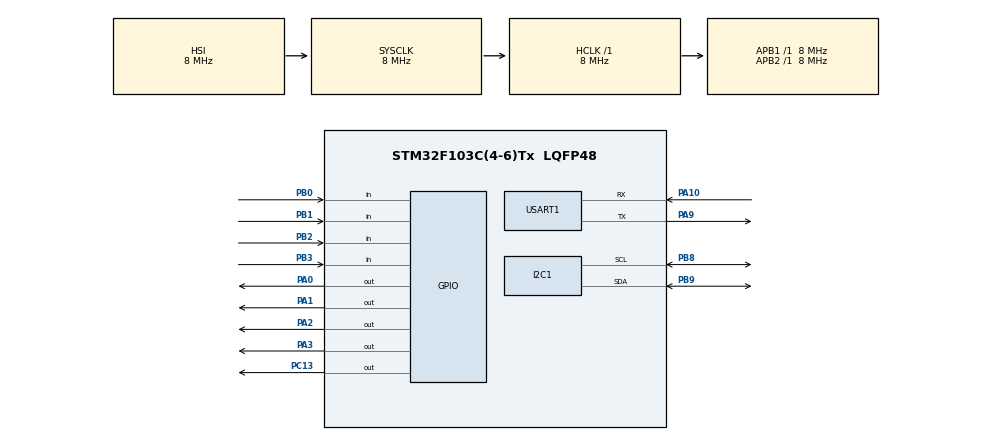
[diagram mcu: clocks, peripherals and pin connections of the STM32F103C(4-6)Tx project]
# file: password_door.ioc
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Mcu.Family=STM32F1
Mcu.Name=STM32F103C(4-6)Tx
Mcu.Package=LQFP48
NVIC.PriorityGroup=NVIC_PRIORITYGROUP_4
PA0-WKUP.PinState=GPIO_PIN_RESET
PA0-WKUP.Signal=GPIO_Output
PA1.PinState=GPIO_PIN_RESET
PA1.Signal=GPIO_Output
PA10.Mode=Asynchronous
PA10.Signal=USART1_RX
PA13.Mode=Serial_Wire
PA13.Signal=SYS_JTMS-SWDIO
PA14.Mode=Serial_Wire
PA14.Signal=SYS_JTCK-SWCLK
PA2.PinState=GPIO_PIN_RESET
PA2.Signal=GPIO_Output
PA3.PinState=GPIO_PIN_RESET
PA3.Signal=GPIO_Output
PA9.Mode=Asynchronous
PA9.Signal=USART1_TX
PB0.GPIO_PuPd=GPIO_PULLUP
PB0.Signal=GPIO_Input
PB1.GPIO_PuPd=GPIO_PULLUP
PB1.Signal=GPIO_Input
PB2.GPIO_PuPd=GPIO_PULLUP
PB2.Signal=GPIO_Input
PB3.GPIO_PuPd=GPIO_PULLUP
PB3.Signal=GPIO_Input
PB8.Mode=I2C
PB8.Signal=I2C1_SCL
PB9.Mode=I2C
PB9.Signal=I2C1_SDA
PC13-TAMPER-RTC.Signal=GPIO_Output
ProjectManager.HeapSize=0x200
ProjectManager.StackSize=0x400
ProjectManager.TargetToolchain=MDK-ARM V5.32
RCC.AHBFreq_Value=8000000
RCC.APB1Freq_Value=8000000
RCC.APB1TimFreq_Value=8000000
RCC.APB2Freq_Value=8000000
RCC.APB2TimFreq_Value=8000000
RCC.HCLKFreq_Value=8000000
RCC.PLLMUL=RCC_PLL_MUL9
RCC.SYSCLKFreq_VALUE=8000000
RCC.USBFreq_Value=36000000
USART1.VirtualMode=VM_ASYNC
board=custom

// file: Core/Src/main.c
/* USER CODE BEGIN Header */
/**
  ******************************************************************************
  * @file           : main.c
  * @brief          : Main program body
  ******************************************************************************
  * @attention
  *
  * Copyright (c) 2023 STMicroelectronics.
  * All rights reserved.
  *
  * This software is licensed under terms that can be found in the LICENSE file
  * in the root directory of this software component.
  * If no LICENSE file comes with this software, it is provided AS-IS.
  *
  ******************************************************************************
  */
/* USER CODE END Header */
#include "main.h"

/* USER CODE BEGIN Includes */
#include "i2c-lcd.h"
#include "string.h"
#include "stdio.h"
#include "keypad.h"
/* USER CODE END Includes */

/* USER CODE BEGIN PD */
// Cac mode chuong trinh
#define MODE_RUN 0
#define MODE_CHANGE 1
#define MODE_INPUT_PASS 3
// Trang thai cua
#define OK 0
#define NOT_OK 1
/* USER CODE END PD */

I2C_HandleTypeDef hi2c1;

UART_HandleTypeDef huart1;

void SystemClock_Config(void);
static void MX_GPIO_Init(void);
static void MX_I2C1_Init(void);
static void MX_USART1_UART_Init(void);
/* USER CODE BEGIN PFP */
void run_Normal(void);
char run_CheckPass(void);
void run_ChangePass(void);
void run_InputPass(void);
void get_key(void);
void loop_main(void);
/* USER CODE END PFP */

/* USER CODE BEGIN 0 */
// Password mac dinh
char password[] = {'1','1','1','1'};

uint8_t key;
char i,j,tmp;
char count_key = 0;
char count_key_in = 0;
char count_enter_pass = 0;
char key_pass[5];
char buffer_pass[5];
char new_pass1[5];
char new_pass2[5];
unsigned char data[]="		Welcome!		";
unsigned char buffer[100];
unsigned char clear[1] = {12};
unsigned char clear_[1] = {8};
char mode_pass = MODE_RUN;
char status_pass = 2;
char check_pass = 2;
/* USER CODE END 0 */

int main(void)
{

  /* MCU Configuration--------------------------------------------------------*/

  /* Reset of all peripherals, Initializes the Flash interface and the Systick. */
  HAL_Init();

  /* Configure the system clock */
  SystemClock_Config();

  /* Initialize all configured peripherals */
  MX_GPIO_Init();
  MX_I2C1_Init();
  MX_USART1_UART_Init();
  /* USER CODE BEGIN 2 */
	lcd_init ();
	lcd_clear();
	lcd_send_cmd(0x80);
	lcd_send_string ("WELCOME!");
	//HAL_UART_Transmit(&huart1,data,strlen(data),100);
  /* USER CODE END 2 */

  /* Infinite loop */
  while (1)
  {

    /* USER CODE BEGIN 3 */
		loop_main();
		HAL_GPIO_TogglePin(GPIOC,GPIO_PIN_13);
		HAL_Delay(1000);
  }
  /* USER CODE END 3 */
}

void SystemClock_Config(void)
{
  RCC_OscInitTypeDef RCC_OscInitStruct = {0};
  RCC_ClkInitTypeDef RCC_ClkInitStruct = {0};

  /** Initializes the RCC Oscillators according to the specified parameters
  * in the RCC_OscInitTypeDef structure.
  */
  RCC_OscInitStruct.OscillatorType = RCC_OSCILLATORTYPE_HSI;
  RCC_OscInitStruct.HSIState = RCC_HSI_ON;
  RCC_OscInitStruct.HSICalibrationValue = RCC_HSICALIBRATION_DEFAULT;
  RCC_OscInitStruct.PLL.PLLState = RCC_PLL_NONE;
  if (HAL_RCC_OscConfig(&RCC_OscInitStruct) != HAL_OK)
  {
    Error_Handler();
  }

  /** Initializes the CPU, AHB and APB buses clocks
  */
  RCC_ClkInitStruct.ClockType = RCC_CLOCKTYPE_HCLK|RCC_CLOCKTYPE_SYSCLK
                              |RCC_CLOCKTYPE_PCLK1|RCC_CLOCKTYPE_PCLK2;
  RCC_ClkInitStruct.SYSCLKSource = RCC_SYSCLKSOURCE_HSI;
  RCC_ClkInitStruct.AHBCLKDivider = RCC_SYSCLK_DIV1;
  RCC_ClkInitStruct.APB1CLKDivider = RCC_HCLK_DIV1;
  RCC_ClkInitStruct.APB2CLKDivider = RCC_HCLK_DIV1;

  if (HAL_RCC_ClockConfig(&RCC_ClkInitStruct, FLASH_LATENCY_0) != HAL_OK)
  {
    Error_Handler();
  }
}

static void MX_I2C1_Init(void)
{

  hi2c1.Instance = I2C1;
  hi2c1.Init.ClockSpeed = 100000;
  hi2c1.Init.DutyCycle = I2C_DUTYCYCLE_2;
  hi2c1.Init.OwnAddress1 = 0;
  hi2c1.Init.AddressingMode = I2C_ADDRESSINGMODE_7BIT;
  hi2c1.Init.DualAddressMode = I2C_DUALADDRESS_DISABLE;
  hi2c1.Init.OwnAddress2 = 0;
  hi2c1.Init.GeneralCallMode = I2C_GENERALCALL_DISABLE;
  hi2c1.Init.NoStretchMode = I2C_NOSTRETCH_DISABLE;
  if (HAL_I2C_Init(&hi2c1) != HAL_OK)
  {
    Error_Handler();
  }

}

static void MX_USART1_UART_Init(void)
{

  huart1.Instance = USART1;
  huart1.Init.BaudRate = 115200;
  huart1.Init.WordLength = UART_WORDLENGTH_8B;
  huart1.Init.StopBits = UART_STOPBITS_1;
  huart1.Init.Parity = UART_PARITY_NONE;
  huart1.Init.Mode = UART_MODE_TX_RX;
  huart1.Init.HwFlowCtl = UART_HWCONTROL_NONE;
  huart1.Init.OverSampling = UART_OVERSAMPLING_16;
  if (HAL_UART_Init(&huart1) != HAL_OK)
  {
    Error_Handler();
  }

}

static void MX_GPIO_Init(void)
{
  GPIO_InitTypeDef GPIO_InitStruct = {0};

  /* GPIO Ports Clock Enable */
  __HAL_RCC_GPIOC_CLK_ENABLE();
  __HAL_RCC_GPIOA_CLK_ENABLE();
  __HAL_RCC_GPIOB_CLK_ENABLE();

  /*Configure GPIO pin Output Level */
  HAL_GPIO_WritePin(GPIOC, GPIO_PIN_13, GPIO_PIN_RESET);

  /*Configure GPIO pin Output Level */
  HAL_GPIO_WritePin(GPIOA, GPIO_PIN_0|GPIO_PIN_1|GPIO_PIN_2|GPIO_PIN_3, GPIO_PIN_RESET);

  /*Configure GPIO pin : PC13 */
  GPIO_InitStruct.Pin = GPIO_PIN_13;
  GPIO_InitStruct.Mode = GPIO_MODE_OUTPUT_PP;
  GPIO_InitStruct.Pull = GPIO_NOPULL;
  GPIO_InitStruct.Speed = GPIO_SPEED_FREQ_LOW;
  HAL_GPIO_Init(GPIOC, &GPIO_InitStruct);

  /*Configure GPIO pins : PA0 PA1 PA2 PA3 */
  GPIO_InitStruct.Pin = GPIO_PIN_0|GPIO_PIN_1|GPIO_PIN_2|GPIO_PIN_3;
  GPIO_InitStruct.Mode = GPIO_MODE_OUTPUT_PP;
  GPIO_InitStruct.Pull = GPIO_NOPULL;
  GPIO_InitStruct.Speed = GPIO_SPEED_FREQ_LOW;
  HAL_GPIO_Init(GPIOA, &GPIO_InitStruct);

  /*Configure GPIO pins : PB0 PB1 PB2 PB3 */
  GPIO_InitStruct.Pin = GPIO_PIN_0|GPIO_PIN_1|GPIO_PIN_2|GPIO_PIN_3;
  GPIO_InitStruct.Mode = GPIO_MODE_INPUT;
  GPIO_InitStruct.Pull = GPIO_PULLUP;
  HAL_GPIO_Init(GPIOB, &GPIO_InitStruct);

}

/* USER CODE BEGIN 4 */
// Ham nhan gia tri tu ban phim nhap
void get_key()
{
	uint8_t key_input = read_keypad();
	if (key_input != 0xFF)
	{
		key = key_input;
		HAL_Delay(100);
	}
	// Che do doi mat khau
	if ((key == 'A')&&(mode_pass == MODE_RUN))
	{
		lcd_clear();
		lcd_put_cur(0, 0);
		lcd_send_string("OLD PASSWORD:");
		count_key_in = 0;
		count_key = 0;
		mode_pass = MODE_CHANGE;
	}
	// Nhan * de backspace
	else if (key == '*')
	{
		if (count_key > 0)
		{
			count_key--;
			HAL_UART_Transmit(&huart1,clear_,1,100);
		}
		if (count_key_in > 0)
		{
			count_key_in--;
			HAL_UART_Transmit(&huart1,clear_,1,100);
		}
	}
	// Nhan # de xac nhan password or cho phep nhap password
	else if (key == '#') {}
	else {}
	key_input = 0;
}

// Ham vong lap chuong trinh chinh
void loop_main()
{
	get_key();
	switch (mode_pass)
	{
		case MODE_RUN:
			run_Normal();
			break;
		case MODE_CHANGE:
			run_ChangePass();
			break;
		case MODE_INPUT_PASS:
			run_InputPass();
			break;
		default:
			break;
	}
}

// Ham check password
char run_CheckPass()
{
	if ((key >= '0')&&(key <= '9'))
	{
		if (count_key == 0)
		{
			HAL_UART_Transmit(&huart1,clear,1,100); // Xoa man hinh
		}
		if (count_key < 4)
		{
			buffer_pass[count_key] = key;
			lcd_put_cur(1,count_key);
			lcd_send_string("*"); // Hien thi '*' the hien dang nhap pass
			count_key++;
			key = 0;
		}
		if (count_key == 4)
		{
			count_key = 0;
			lcd_clear(); // Xoa man hinh
			for(i = 0; i < 4; i++){
				if(password[i] != buffer_pass[i])
					break;
			}
			if (i == 4)
			{
				check_pass = OK;
			}
			else
			{
				check_pass = NOT_OK;
				lcd_clear();
				lcd_put_cur(0,0);
				lcd_send_string("Wrong password!"); // Hien thi sai mat khau
			}
		}
	}
	return check_pass;
}

// Ham run_Normal
void run_Normal()
{
	status_pass = run_CheckPass();
	if (status_pass == OK)
	{
		lcd_clear();
		lcd_put_cur(0,0);
		lcd_send_string("Door is open!"); // Hien thi mo cua
		HAL_Delay(3000);
		lcd_clear();
		count_enter_pass = 0;
		mode_pass = MODE_RUN;
		check_pass = 2;
	}
	else if (status_pass == NOT_OK)
	{
		check_pass = 2;
		count_enter_pass++;
		if (count_enter_pass == 3)
		{
			count_enter_pass = 0;
			lcd_clear();
			lcd_send_string("XXXXX"); // Canh bao
		}
		mode_pass = MODE_RUN;
	}
	else {}
}

// Ham run_ChangePass
void run_ChangePass()
{
	status_pass = run_CheckPass();
	if (status_pass == OK)
	{
		lcd_send_string("NEW PASSWORD 1:");
		mode_pass = MODE_INPUT_PASS;
	}
	else if (status_pass == NOT_OK)
	{
		HAL_Delay(500);
		lcd_clear();
		status_pass = 2;
		mode_pass = MODE_RUN;
	}
	else {}
}

// Ham run_InputPass
void run_InputPass(){
/*
	if (count_key_in < 4)
	{
		unsigned char doimk[] = "Nhap new password 1: \r\n";
		HAL_UART_Transmit(&huart1,doimk,strlen(doimk),100);
	}
	else
	{
		unsigned char doimk[] = "Nhap new password 2: \r\n";
		HAL_UART_Transmit(&huart1,doimk,strlen(doimk),100);
	}
*/
	if ((key >= '0')&&(key <= '9'))
	{
		if (count_key_in < 4)
		{
			new_pass1[count_key_in] = key;
			count_key_in++;
			lcd_put_cur(1,count_key_in);
			lcd_send_string("*");
			if (count_key_in == 4)
			{
				lcd_clear();
				lcd_put_cur(1,0);
				lcd_send_string("NEW PASSWORD 2:");
			}
			key = 0;
		}
		else
		{
			new_pass2[count_key_in-4] = key;
			count_key_in++;
			lcd_put_cur(1,count_key_in);
			lcd_send_string("*");
			key = 0;
		}
		if (count_key_in == 8)
		{
			HAL_UART_Transmit(&huart1,clear,1,100);
			count_key_in = 0;
			for(i = 0; i < 4; i++)
			{
				if (new_pass1[i] != new_pass2[i])
					break;
			}
			if (i == 4)
			{
				password[0] = new_pass1[0];
				password[1] = new_pass1[1];
				password[2] = new_pass1[2];
				password[3] = new_pass1[3];

				lcd_clear();
				lcd_put_cur(0,0);
				lcd_send_string("CHANGE SUCCESSFULLY");
			}
			else
			{
				lcd_clear();
				lcd_put_cur(0,0);
				lcd_send_string("CHANGE UNSUCCESSFULLY");
			}
			HAL_Delay(2000);
			lcd_clear();
			status_pass = 2;
			mode_pass = MODE_RUN;
		}
	}
}
/* USER CODE END 4 */

void Error_Handler(void)
{
  __disable_irq();
  while (1)
  {
  }
}
